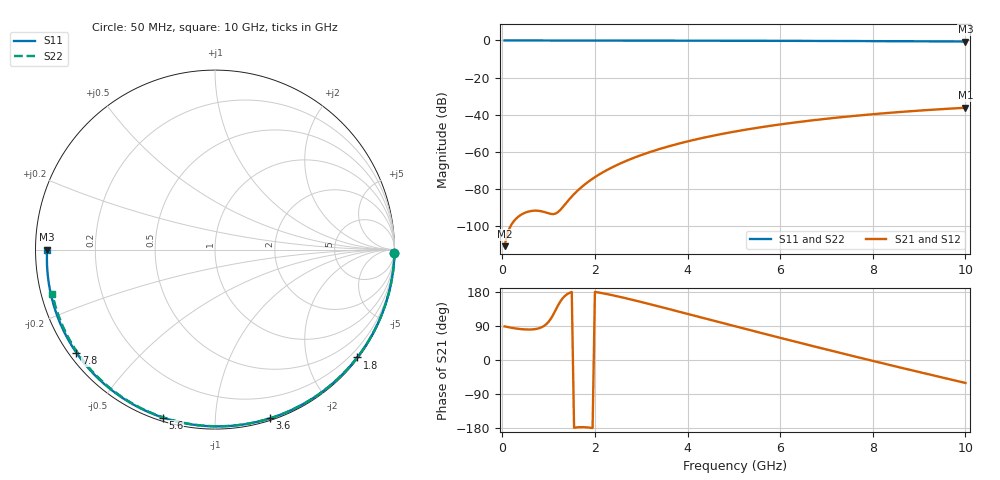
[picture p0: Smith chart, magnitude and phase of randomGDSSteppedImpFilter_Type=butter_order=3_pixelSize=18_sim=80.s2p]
! freq	dB(S11)	phase(S11)	dB(S12)	phase(S12)
!  dB(S21)	phase(S21)	dB(S22)	phase(S22)
!S-par simulation data
#  GHz  S  DB  R 50
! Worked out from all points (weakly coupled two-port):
!   200 points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, 50 MHz to 10 GHz, reference 50 ohm
!   highest |S21| = -36.20 dB at 10 GHz (marker M1); lowest = -110.7 dB at 50 MHz (marker M2)
!   lowest |S11| = -0.6 dB at 10 GHz (marker M3), VSWR 30.01, Z = 1.67 + j0.0063 ohm
!   |S11| at or under -10 dB: nowhere
!   |S22| runs from -0.5 to 0.0 dB; largest |S21 - S12| = 0
!   S11 on the Smith chart (normalised r, x): 50 MHz: open; 1.8 GHz: 0.03, -2.97; 3.6 GHz: 0.02, -1.38; 5.6 GHz: 0.02, -0.74; 7.8 GHz: 0.02, -0.33; 10 GHz: 0.03, +0.00
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0.05  -0.00 -1.1  -110.65 88.7  -110.65 88.7  -0.00 -1.0
0.4  -0.01 -8.4  -93.83 81.6  -93.83 81.6  -0.01 -7.7
0.8  -0.02 -16.7  -91.70 84.1  -91.70 84.1  -0.02 -15.3
1.2  -0.03 -25.0  -92.37 143.3  -92.37 143.3  -0.03 -22.8
1.65  -0.04 -34.1  -80.22 -177.4  -80.22 -177.4  -0.04 -31.2
1.75  -0.05 -36.2  -78.07 -177.2  -78.07 -177.2  -0.04 -33.0
1.8  -0.05 -37.2  -77.07 -177.5  -77.07 -177.5  -0.04 -33.9
2.1  -0.06 -43.1  -71.96 177.7  -71.96 177.7  -0.05 -39.4
2.5  -0.07 -51.0  -66.72 167.7  -66.72 167.7  -0.06 -46.7
2.9  -0.08 -58.8  -62.56 156.1  -62.56 156.1  -0.07 -53.8
3.4  -0.09 -68.2  -58.36 140.7  -58.36 140.7  -0.08 -62.5
3.6  -0.10 -71.9  -56.90 134.4  -56.90 134.4  -0.09 -65.9
4.3  -0.12 -84.7  -52.57 112.2  -52.57 112.2  -0.11 -77.7
5.05  -0.15 -97.8  -48.87 88.3  -48.87 88.3  -0.14 -89.9
5.6  -0.18 -107.2  -46.62 71.0  -46.62 71.0  -0.16 -98.6
6.15  -0.21 -116.4  -44.66 53.8  -44.66 53.8  -0.19 -107.1
6.7  -0.24 -125.5  -42.95 36.9  -42.95 36.9  -0.23 -115.5
7.25  -0.28 -134.4  -41.45 20.1  -41.45 20.1  -0.26 -123.7
7.8  -0.33 -143.3  -40.12 3.6  -40.12 3.6  -0.31 -131.9
8.35  -0.38 -152.3  -38.94 -12.7  -38.94 -12.7  -0.36 -140.1
9.2  -0.48 -166.3  -37.39 -37.5  -37.39 -37.5  -0.45 -152.7
10  -0.58 180.0  -36.20 -60.5  -36.20 -60.5  -0.55 -164.8
